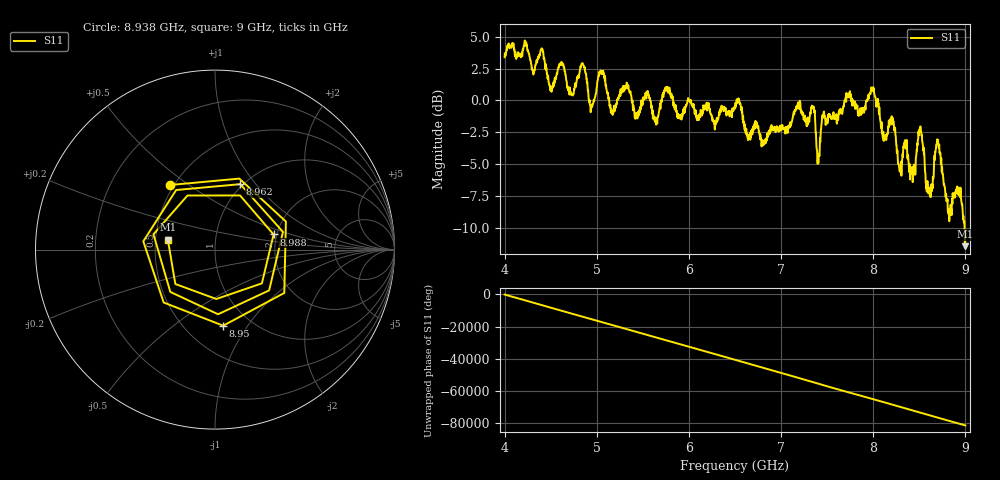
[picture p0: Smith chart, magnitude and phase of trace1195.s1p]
! Created with skrf 1.8.0 (http://scikit-rf.org).
# Hz S RI R 50.0
!freq ReS11 ImS11
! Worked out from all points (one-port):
!   1601 points, 4 GHz to 9 GHz, reference 50 ohm
!   lowest |S11| = -11.4 dB at 9 GHz (marker M1), VSWR 1.73, Z = 29 + j3.48 ohm
!   |S11| at or under -10 dB: 8.991345 GHz to end of sweep
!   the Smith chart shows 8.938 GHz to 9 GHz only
!   S11 on the Smith chart (normalised r, x): 8.938 GHz: 0.48, +0.42; 8.95 GHz: 0.75, -0.78; 8.962 GHz: 0.97, +0.84; 8.988 GHz: 1.92, +0.37; 9 GHz: 0.58, +0.07
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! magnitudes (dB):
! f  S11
! 4 GHz  3.4
! 4.625 GHz  3.0
! 4.725 GHz  0.4
! 4.85 GHz  2.9
! 4.938 GHz  -0.5
! 5.05 GHz  2.1
! 5.162 GHz  -0.8
! 5.25 GHz  0.4
! 5.875 GHz  -1.3
! 6.5 GHz  -0.4
! 6.812 GHz  -3.5
! 7.125 GHz  -1.4
! 7.341 GHz  -0.5
! 7.403 GHz  -4.9
! 7.75 GHz  0.2
! 8 GHz  1.1
! 8.119 GHz  -3.1
! 8.375 GHz  -4.2
! 8.434 GHz  -5.7
! 8.516 GHz  -2.3
! 8.619 GHz  -7.5
! 8.703 GHz  -3.1
! 8.809 GHz  -8.6
! 8.938 GHz  -7.2
! 8.95 GHz  -7.4
! 8.962 GHz  -8.2
! 8.988 GHz  -9.4
! 9 GHz  -11.4
